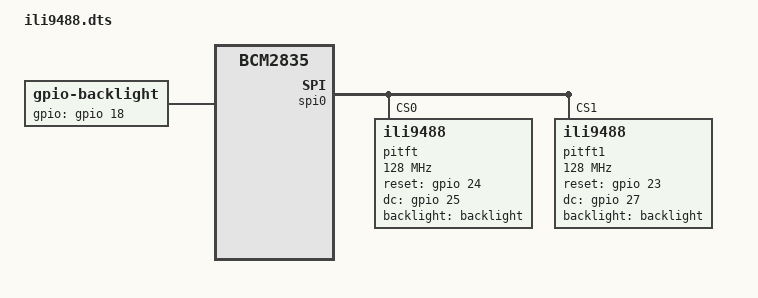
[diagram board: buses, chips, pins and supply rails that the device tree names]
/dts-v1/;
/plugin/;

/ {
	compatible = "brcm,bcm2835";

	fragment@0 {
		target = <&spi0>;
		__overlay__ {
			status = "okay";
		};
	};

	fragment@1 {
		target = <&spidev0>;
		__overlay__ {
			status = "disabled";
		};
	};

	/* Pin configuration for first display */
	fragment@2 {
		target = <&gpio>;
		__overlay__ {
			pitft_pins: pitft_pins {
				brcm,pins = <24 25 18>; /* LCD_0 pins: RESET=24, DC=25, BL=18 */
				brcm,function = <1 1 1>; /* all output */
			};
		};
	};

	/* Pin configuration for second display */
	fragment@5 {
		target = <&gpio>;
		__overlay__ {
			pitft1_pins: pitft1_pins {
				brcm,pins = <23 27>;  /* LCD_1 pins: RESET=23, DC=27 */
				brcm,function = <1 1>; /* all output */
			};
		};
	};

	fragment@3 {
		target = <&spi0>;
		__overlay__ {
			#address-cells = <1>;
			#size-cells = <0>;

			/* Node for first display */
			pitft: pitft@0 {
				compatible = "ili9488";
				pinctrl-names = "default";
				pinctrl-0 = <&pitft_pins>;

				reg = <0>;
				spi-max-frequency = <128000000>;

				rotation = <0>;
				reset-gpios = <&gpio 24 0>;
				dc-gpios = <&gpio 25 0>;
				backlight = <&backlight>;
			};

			/* Node for second display */
			pitft1: pitft@1 {
				compatible = "ili9488";
				pinctrl-names = "default";
				pinctrl-0 = <&pitft1_pins>;

				reg = <1>;
				spi-max-frequency = <128000000>;

				rotation = <0>;
				reset-gpios = <&gpio 23 0>;
				dc-gpios = <&gpio 27 0>;
				backlight = <&backlight>;
			};
		};
	};

	fragment@4 {
		target-path = "/soc";
		__overlay__ {
			backlight: backlight {
				compatible = "gpio-backlight";
				gpios = <&gpio 18 0>;
			};
		};
	};

	__overrides__ {
		speed = <&pitft>,"spi-max-frequency:0";
		rotation = <&pitft>,"rotation:0";
	};
};
